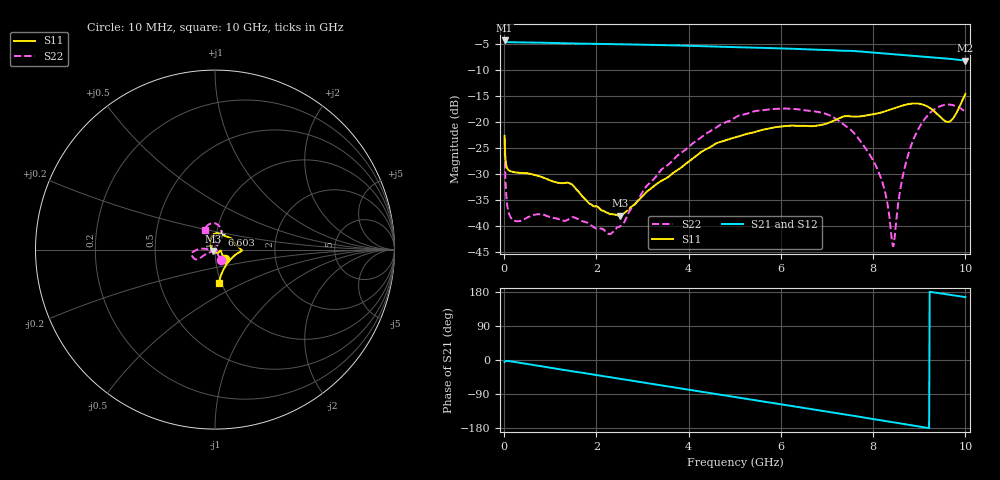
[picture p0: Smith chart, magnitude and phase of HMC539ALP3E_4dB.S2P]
!Created: 1/2/2014 at 2:07:09 PM
!Mini-Circuits
!S2P DATA File Format
!Type: MMIC Amplifier
!Model: CMA-5043+
!S/N: Unit 1
!RUN# Q13020, D/C 1336 MOUNTED ON TB-757+
!PIN OUT: PORT 1 - PIN 2, PORT 2 - PIN 7, GROUND - ALL OTHERS
!TEST CONDITIONS: Temp= 25 (Deg C) RF Power= -25.00 (dBm) V limit=5(V) I limit=250(mA) Z=50 OHM
!Tested with Network Analyzer: !Agilent AG N5242A, S/N 71404, CAL DUE DATE: 5/31/14
# GHz  S  dB  R  50
!Frequency  S11 dB  S11 Deg  S21 dB  S21 Deg  S12 dB  S12 Deg  S22 dB  S22 Deg
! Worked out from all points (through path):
!   801 points, 10 MHz to 10 GHz, reference 50 ohm
!   highest |S21| = -4.28 dB at 10 MHz (marker M1); lowest = -8.2 dB at 10 GHz (marker M2)
!   group delay of S21, straight-line fit = 53.7 ps
!   lowest |S11| = -38.0 dB at 2.507 GHz (marker M3), VSWR 1.03, Z = 49 - j0.699 ohm
!   |S11| at or under -10 dB: start of sweep to end of sweep
!   |S22| runs from -43.9 to -16.6 dB; largest |S21 - S12| = 0.00091
!   S11 on the Smith chart (normalised r, x): 10 MHz: 1.11, -0.11; 6.603 GHz: 1.06, +0.18; 10 GHz: 0.97, -0.37
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0.01  -22.64 -43.1  -4.28 -5.3  -4.27 -5.3  -23.55 -60.6
0.084925  -29.12 -14.9  -4.61 -2.6  -4.61 -2.6  -36.90 -39.0
0.197312  -29.59 -10.1  -4.63 -4.5  -4.63 -4.5  -38.83 -25.0
1.421088  -31.77 -42.0  -4.87 -28.8  -4.87 -28.8  -38.58 -31.2
1.683325  -34.17 -69.5  -4.90 -33.5  -4.89 -33.6  -39.05 -52.6
2.270238  -37.59 -116.3  -4.97 -44.9  -4.97 -44.9  -41.52 -107.0
2.5075  -38.01 -145.4  -5.01 -49.5  -5.01 -49.5  -40.12 -138.3
3.344163  -31.66 150.7  -5.16 -65.7  -5.16 -65.7  -29.85 179.0
5.005  -22.94 111.0  -5.57 -97.6  -5.57 -97.6  -19.13 -177.4
6.6034  -20.76 66.8  -6.00 -128.2  -6.00 -128.2  -17.80 -159.5
6.678325  -20.78 63.1  -6.03 -129.6  -6.02 -129.6  -17.87 -157.6
7.165338  -19.66 39.9  -6.18 -139.0  -6.18 -139.1  -19.20 -151.7
7.689812  -18.92 22.0  -6.38 -149.7  -6.38 -149.8  -23.28 -153.1
8.126875  -18.26 12.4  -6.70 -158.4  -6.69 -158.5  -29.79 -151.6
8.339163  -17.70 6.5  -6.85 -162.5  -6.84 -162.6  -37.34 -165.8
8.4016  -17.52 4.9  -6.89 -163.7  -6.89 -163.8  -42.40 166.6
8.45155  -17.37 3.8  -6.93 -164.7  -6.93 -164.8  -43.34 113.0
8.588913  -16.94 1.3  -7.04 -167.4  -7.03 -167.5  -32.93 64.3
8.713788  -16.62 -0.3  -7.13 -169.9  -7.13 -169.9  -27.74 60.2
9.113388  -16.74 -3.5  -7.43 -177.9  -7.42 -178.0  -19.47 69.9
9.637863  -19.94 -42.2  -7.81 172.7  -7.80 172.6  -16.61 96.2
10  -14.56 -83.3  -8.15 165.9  -8.15 165.8  -18.10 117.1
